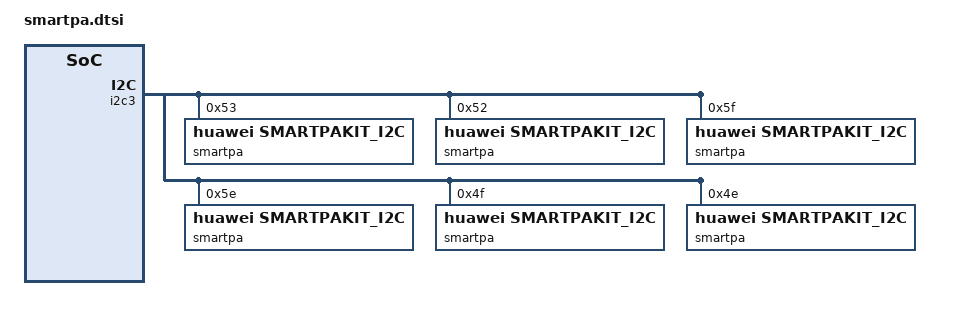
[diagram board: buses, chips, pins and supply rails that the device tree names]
&i2c3 {
	#address-cells = <1>;
	#size-cells = <0>;
	smartpa@53{
		compatible = "huawei,smartpakit_i2c";
		reg = <0x53>;
		/* 4:huawei customize */
		chip_vendor = <4>;
		/* refer to smartpakit.out_device prop */
		chip_id = <0>;
		chip_model = "03-02";
		status = "ok";

		/* reg_ctl node: a node contains three data<addr value ctl_type>
		 * ctl_type: 0 read reg(default), 1 write reg, 2 only time delay
		 * value:
		 *     read:  reg number(num >= 1)
		 *     write: reg value
		 *     delay: time delay
		 * time delay unit: msecs
		 */
		version_regs = <0x0 1 0>;
		dump_regs = <
			0x000000 1          0
			0x000008 1          0
			0x002014 0x21       0
			0x002400 1          0
			0x002c04 0xd        0
			0x003800 0x31       0
			0x004004 1          0
			0x004220 1          0
			0x004300 1          0
			0x004800 0x3d       0
			0x004C00 1          0
			0x004C20 0x15       0
			0x006000 1          0
			0x006404 0x11       0
			0x006450 1          0
			0x006800 0x9        0
			0x006C04 1          0
			0xd00000 0x4d       0
			0xe02800 1          0>;

		hw_reset {
			gpio_reset = <&pio 30 0>;
			/* gpio_state node: a node contains two data<state delay>
			 * time delay unit: msecs
			 */
			ctl_sequence = <0 3 1 1>;
		};

		irq_handler {
			gpio_irq = <&pio 31 0>;
			/* 0x0 IRQF_TRIGGER_NONE, 0x1 IRQF_TRIGGER_RISING, 0x2 IRQF_TRIGGER_FALLING, 0x4 IRQF_TRIGGER_HIGH, 0x8 IRQF_TRIGGER_LOW */
			irq_flags = <2>;
			/* whether or not need reset chip */
			need_reset;
			rw_sequence = <
				0xd00020 1          0
				0xd00024 1          0
				0xd00028 1          0
				0xd0002c 1          0
				0xd00000 0xffffffff 1
				0xd00004 0xffffffff 1
				0xd00008 0xffffffff 1
				0xd0000c 0xffffffff 1
			>;
		};

		regmap_cfg {
			reg_bits = <32>;
			val_bits = <32>;
			/* 0 REGCACHE_NONE, 1 REGCACHE_RBTREE, 2 REGCACHE_COMPRESSED, 3 REGCACHE_FLAT */
			cache_type = <0>;
			max_register = <0xe0ffff>;
		};
	};

	smartpa@52{
		compatible = "huawei,smartpakit_i2c";
		reg = <0x52>;
		/* 4:huawei customize */
		chip_vendor = <4>;
		/* refer to smartpakit.out_device prop */
		chip_id = <1>;
		chip_model = "03-02";
		status = "ok";

		/* reg_ctl node: a node contains three data<addr value ctl_type>
		 * ctl_type: 0 read reg(default), 1 write reg, 2 only time delay
		 * value:
		 *     read:  reg number(num >= 1)
		 *     write: reg value
		 *     delay: time delay
		 * time delay unit: msecs
		 */
		version_regs = <0x0 1 0>;
		dump_regs = <
			0x000000 1          0
			0x000008 1          0
			0x002014 0x21       0
			0x002400 1          0
			0x002c04 0xd        0
			0x003800 0x31       0
			0x004004 1          0
			0x004220 1          0
			0x004300 1          0
			0x004800 0x3d       0
			0x004C00 1          0
			0x004C20 0x15       0
			0x006000 1          0
			0x006404 0x11       0
			0x006450 1          0
			0x006800 0x9        0
			0x006C04 1          0
			0xd00000 0x4d       0
			0xe02800 1          0>;

		hw_reset {
			gpio_reset = <&pio 109 0>;
			/* gpio_state node: a node contains two data<state delay>
			 * time delay unit: msecs
			 */
			ctl_sequence = <0 3 1 1>;
		};

		irq_handler {
			gpio_irq = <&pio 102 0>;
			/* 0x0 IRQF_TRIGGER_NONE, 0x1 IRQF_TRIGGER_RISING, 0x2 IRQF_TRIGGER_FALLING, 0x4 IRQF_TRIGGER_HIGH, 0x8 IRQF_TRIGGER_LOW */
			irq_flags = <2>;
			/* whether or not need reset chip */
			need_reset;
			rw_sequence = <
				0xd00020 1          0
				0xd00024 1          0
				0xd00028 1          0
				0xd0002c 1          0
				0xd00000 0xffffffff 1
				0xd00004 0xffffffff 1
				0xd00008 0xffffffff 1
				0xd0000c 0xffffffff 1
			>;
		};

		regmap_cfg {
			reg_bits = <32>;
			val_bits = <32>;
			/* 0 REGCACHE_NONE, 1 REGCACHE_RBTREE, 2 REGCACHE_COMPRESSED, 3 REGCACHE_FLAT */
			cache_type = <0>;
			max_register = <0xe0ffff>;
		};
	};

	smartpa@5F{
		compatible = "huawei,smartpakit_i2c";
		reg = <0x5F>;
		/* 4:huawei customize */
		chip_vendor = <4>;
		/* refer to smartpakit.out_device prop */
		chip_id = <0>;
		chip_model = "05-01";
		reset_debounce_wait_time = <100>;
		status = "ok";

		/* reg_ctl node: a node contains three data<addr value ctl_type>
		 * ctl_type: 0 read reg(default), 1 write reg, 2 only time delay
		 * value:
		 *     read:  reg number(num >= 1)
		 *     write: reg value
		 *     delay: time delay
		 * time delay unit: msecs */
		version_regs = <0x03 1 0>;
		dump_regs = <0 256 0>;
		hw_reset {
			gpio_reset = <&pio 30 0>;
			/* gpio_state node: a node contains two data<state delay>
			 * time delay unit: msecs */
			ctl_sequence = <0 1 1 1>;
		};
		irq_handler {
			gpio_irq = <&pio 31 0>;
			/* 0x0 IRQF_TRIGGER_NONE, 0x1 IRQF_TRIGGER_RISING, 0x2 IRQF_TRIGGER_FALLING, 0x4 IRQF_TRIGGER_HIGH, 0x8 IRQF_TRIGGER_LOW */
			irq_flags = <2>;
			/* whether or not need reset chip */
			need_reset;
			rw_sequence = <
				0x01 1 0
				0x05 1 0
				0x09 1 0
			>;
		};
		regmap_cfg {
			reg_bits = <8>;
			val_bits = <16>;
			/* 0 REGCACHE_NONE, 1 REGCACHE_RBTREE, 2 REGCACHE_COMPRESSED, 3 REGCACHE_FLAT */
			cache_type = <0>;
			max_register = <0xff>;
		};
	};

	smartpa@5E{
		compatible = "huawei,smartpakit_i2c";
		reg = <0x5E>;
		/* 4:huawei customize */
		chip_vendor = <4>;
		/* refer to smartpakit.out_device prop */
		chip_id = <1>;
		chip_model = "05-01";
		reset_debounce_wait_time = <100>;
		status = "ok";

		/* reg_ctl node: a node contains three data<addr value ctl_type>
		 * ctl_type: 0 read reg(default), 1 write reg, 2 only time delay
		 * value:
		 *     read:  reg number(num >= 1)
		 *     write: reg value
		 *     delay: time delay
		 * time delay unit: msecs */
		version_regs = <0x03 1 0>;
		dump_regs = <0 256 0>;
		hw_reset {
			gpio_reset = <&pio 109 0>;
			/* gpio_state node: a node contains two data<state delay>
			 * time delay unit: msecs */
			ctl_sequence = <0 1 1 1>;
		};
		irq_handler {
			gpio_irq = <&pio 102 0>;
			/* 0x0 IRQF_TRIGGER_NONE, 0x1 IRQF_TRIGGER_RISING, 0x2 IRQF_TRIGGER_FALLING, 0x4 IRQF_TRIGGER_HIGH, 0x8 IRQF_TRIGGER_LOW */
			irq_flags = <2>;
			/* whether or not need reset chip */
			need_reset;
			rw_sequence = <
				0x01 1 0
				0x05 1 0
				0x09 1 0
			>;
		};
		regmap_cfg {
			reg_bits = <8>;
			val_bits = <16>;
			/* 0 REGCACHE_NONE, 1 REGCACHE_RBTREE, 2 REGCACHE_COMPRESSED, 3 REGCACHE_FLAT */
			cache_type = <0>;
			max_register = <0xff>;
		};
	};

	smartpa@4F{
		compatible = "huawei,smartpakit_i2c";
		reg = <0x4F>;
		/* 4:huawei customize */
		chip_vendor = <4>;
		/* refer to smartpakit.out_device prop */
		chip_id = <0>;
		chip_model = "02-02";
		/* maybe trigger one irq after some chip reset, ext. tas2560
		* debounce wait time unit: msecs */
		reset_debounce_wait_time = <100>;
		status = "ok";

		/* reg_ctl node: a node contains three data<addr value ctl_type>
		* ctl_type: 0 read reg(default), 1 write reg, 2 only time delay
		* value:
		*     read:  reg number(num >= 1)
		*     write: reg value
		*     delay: time delay
		* time delay unit: msecs */
		version_regs = <
			0	0	1
			125	1	0
			>;
		dump_regs = <
			0	0	1
			0	128	0
			0	50	1
			0	128	0
			0	51	1
			0	128	0
			0	52	1
			0	128	0
		>;
		hw_reset {
			gpio_reset = <&pio 30 0>;
			/* gpio_state node: a node contains two data<state delay>
			* time delay unit: msecs */
			ctl_sequence = <0 3 1 2>;
		};

		irq_handler {
			gpio_irq = <&pio 31 0>;
			/* 0x0 IRQF_TRIGGER_NONE, 0x1 IRQF_TRIGGER_RISING, 0x2 IRQF_TRIGGER_FALLING, 0x4 IRQF_TRIGGER_HIGH, 0x8 IRQF_TRIGGER_LOW*/
			irq_flags = <2>;
			/* whether or not need reset chip*/
			need_reset;
			rw_sequence = <
				0	20	2
				0	0	1
				26	1	0
				27	1	0
				31	1	0
				32	1	0
				36	1	0
				37	1	0
				2	1	0
				120	1	0
			>;
		};

		regmap_cfg {
			reg_bits = <8>;
			val_bits = <8>;
			/* 0 REGCACHE_NONE, 1 REGCACHE_RBTREE, 2 REGCACHE_COMPRESSED, 3 REGCACHE_FLAT */
			cache_type = <0>;
			max_register = <128>;
		};
	};

	smartpa@4E{
		compatible = "huawei,smartpakit_i2c";
		reg = <0x4E>;
		/* 4:huawei customize */
		chip_vendor = <4>;
		/* refer to smartpakit.out_device prop */
		chip_id = <1>;
		chip_model = "02-02";
		/* maybe trigger one irq after some chip reset, ext. tas2560
		 * debounce wait time unit: msecs
		 */
		reset_debounce_wait_time = <100>;
		status = "ok";

		/* reg_ctl node: a node contains three data<addr value ctl_type>
		 * ctl_type: 0 read reg(default), 1 write reg, 2 only time delay
		 * value:
		 *     read:  reg number(num >= 1)
		 *     write: reg value
		 *     delay: time delay
		 * time delay unit: msecs
		 */
		version_regs = <
			0	0	1
			125	1	0
			>;
		dump_regs = <
			0	0	1
			0	128	0
			0	50	1
			0	128	0
			0	51	1
			0	128	0
			0	52	1
			0	128	0
		>;
		hw_reset {
			gpio_reset = <&pio 109 0>;
			/* gpio_state node: a node contains two data<state delay>
			* time delay unit: msecs */
			ctl_sequence = <0 3 1 2>;
		};

		irq_handler {
			gpio_irq = <&pio 102 0>;
			/* 0x0 IRQF_TRIGGER_NONE, 0x1 IRQF_TRIGGER_RISING, 0x2 IRQF_TRIGGER_FALLING, 0x4 IRQF_TRIGGER_HIGH, 0x8 IRQF_TRIGGER_LOW */
			irq_flags = <2>;
			/* whether or not need reset chip */
			need_reset;
			rw_sequence = <
				0	20	2
				0	0	1
				26	1	0
				27	1	0
				31	1	0
				32	1	0
				36	1	0
				37	1	0
				2	1	0
				120	1	0
			>;
		};

		regmap_cfg {
			reg_bits = <8>;
			val_bits = <8>;
			/* 0 REGCACHE_NONE, 1 REGCACHE_RBTREE, 2 REGCACHE_COMPRESSED, 3 REGCACHE_FLAT */
			cache_type = <0>;
			max_register = <128>;
		};
	};
};
